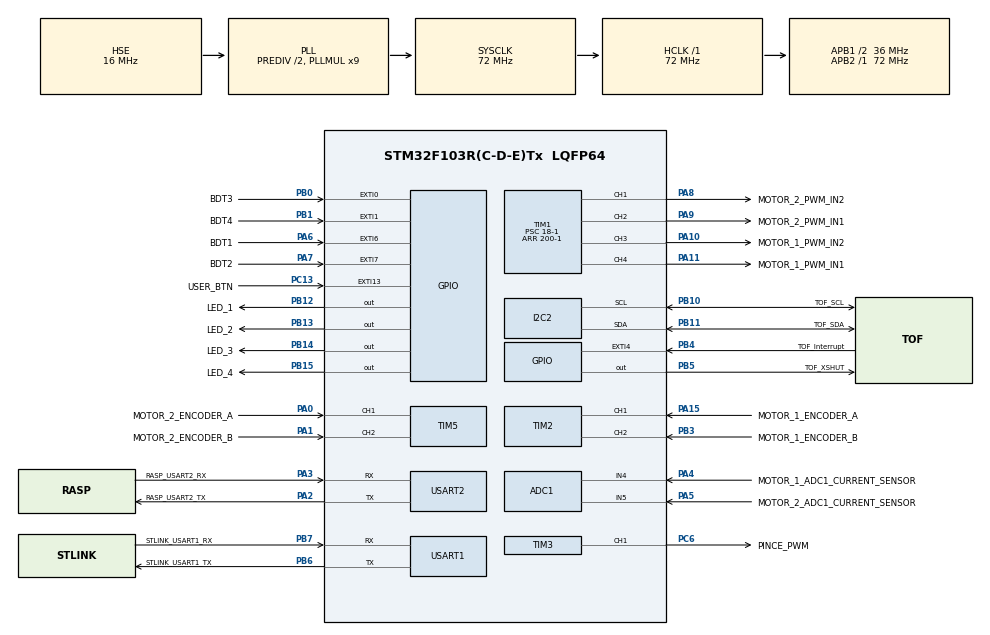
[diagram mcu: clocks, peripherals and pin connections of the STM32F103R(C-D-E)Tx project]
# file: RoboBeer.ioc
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ADC1.Channel-0\#ChannelRegularConversion=ADC_CHANNEL_4
ADC1.NbrOfConversionFlag=1
ADC1.Rank-0\#ChannelRegularConversion=1
ADC1.SamplingTime-0\#ChannelRegularConversion=ADC_SAMPLETIME_1CYCLE_5
ADC1.master=1
Dma.Request0=USART2_RX
Dma.USART2_RX.0.Direction=DMA_PERIPH_TO_MEMORY
Dma.USART2_RX.0.Instance=DMA1_Channel6
Dma.USART2_RX.0.MemDataAlignment=DMA_MDATAALIGN_BYTE
Dma.USART2_RX.0.MemInc=DMA_MINC_ENABLE
Dma.USART2_RX.0.Mode=DMA_CIRCULAR
Dma.USART2_RX.0.PeriphDataAlignment=DMA_PDATAALIGN_BYTE
Dma.USART2_RX.0.PeriphInc=DMA_PINC_DISABLE
Dma.USART2_RX.0.Priority=DMA_PRIORITY_LOW
Mcu.Family=STM32F1
Mcu.Name=STM32F103R(C-D-E)Tx
Mcu.Package=LQFP64
NVIC.DMA1_Channel6_IRQn=true\:0\:0\:false\:false\:true\:false\:true\:true
NVIC.EXTI0_IRQn=true\:0\:0\:false\:false\:true\:true\:true\:true
NVIC.EXTI15_10_IRQn=true\:0\:0\:false\:false\:true\:true\:true\:true
NVIC.EXTI1_IRQn=true\:0\:0\:false\:false\:true\:true\:true\:true
NVIC.EXTI4_IRQn=true\:0\:0\:false\:false\:true\:true\:true\:true
NVIC.EXTI9_5_IRQn=true\:0\:0\:false\:false\:true\:true\:true\:true
NVIC.PriorityGroup=NVIC_PRIORITYGROUP_4
NVIC.TIM1_UP_IRQn=true\:0\:0\:false\:false\:true\:true\:true\:true
NVIC.TIM2_IRQn=true\:0\:0\:false\:false\:true\:true\:true\:true
NVIC.TIM3_IRQn=true\:0\:0\:false\:false\:true\:true\:true\:true
NVIC.TIM4_IRQn=true\:0\:0\:false\:false\:true\:true\:true\:true
NVIC.TIM5_IRQn=true\:0\:0\:false\:false\:true\:true\:true\:true
NVIC.TIM6_IRQn=true\:0\:0\:false\:false\:true\:true\:true\:true
NVIC.TIM7_IRQn=true\:0\:0\:false\:false\:true\:true\:true\:true
NVIC.USART1_IRQn=true\:0\:0\:false\:false\:true\:true\:true\:true
NVIC.USART2_IRQn=true\:0\:0\:false\:false\:true\:true\:true\:true
PA0-WKUP.GPIO_Label=MOTOR_2_ENCODER_A
PA0-WKUP.Signal=S_TIM5_CH1
PA1.GPIO_Label=MOTOR_2_ENCODER_B
PA1.Signal=S_TIM5_CH2
PA10.GPIO_Label=MOTOR_1_PWM_IN2
PA10.Signal=S_TIM1_CH3
PA11.GPIO_Label=MOTOR_1_PWM_IN1
PA11.GPIO_ModeDefaultPP=GPIO_MODE_AF_PP
PA11.Signal=S_TIM1_CH4
PA13.Mode=Serial_Wire
PA13.Signal=SYS_JTMS-SWDIO
PA14.Mode=Serial_Wire
PA14.Signal=SYS_JTCK-SWCLK
PA15.GPIO_Label=MOTOR_1_ENCODER_A
PA15.Signal=S_TIM2_CH1_ETR
PA2.GPIO_Label=RASP_USART2_TX
PA2.Mode=Asynchronous
PA2.Signal=USART2_TX
PA3.GPIO_Label=RASP_USART2_RX
PA3.Mode=Asynchronous
PA3.Signal=USART2_RX
PA4.GPIO_Label=MOTOR_1_ADC1_CURRENT_SENSOR
PA4.Signal=ADCx_IN4
PA5.GPIO_Label=MOTOR_2_ADC1_CURRENT_SENSOR
PA5.Signal=ADCx_IN5
PA6.GPIO_Label=BDT1
PA6.GPIO_ModeDefaultEXTI=GPIO_MODE_IT_RISING_FALLING
PA6.Signal=GPXTI6
PA7.GPIO_Label=BDT2
PA7.GPIO_ModeDefaultEXTI=GPIO_MODE_IT_RISING_FALLING
PA7.Signal=GPXTI7
PA8.GPIO_Label=MOTOR_2_PWM_IN2
PA8.Signal=S_TIM1_CH1
PA9.GPIO_Label=MOTOR_2_PWM_IN1
PA9.Signal=S_TIM1_CH2
PB0.GPIO_Label=BDT3
PB0.GPIO_ModeDefaultEXTI=GPIO_MODE_IT_RISING_FALLING
PB0.Signal=GPXTI0
PB1.GPIO_Label=BDT4
PB1.GPIO_ModeDefaultEXTI=GPIO_MODE_IT_RISING_FALLING
PB1.Signal=GPXTI1
PB10.GPIO_Label=TOF_SCL
PB10.Mode=I2C
PB10.Signal=I2C2_SCL
PB11.GPIO_Label=TOF_SDA
PB11.Mode=I2C
PB11.Signal=I2C2_SDA
PB12.GPIO_Label=LED_1
PB12.Signal=GPIO_Output
PB13.GPIO_Label=LED_2
PB13.Signal=GPIO_Output
PB14.GPIO_Label=LED_3
PB14.Signal=GPIO_Output
PB15.GPIO_Label=LED_4
PB15.Signal=GPIO_Output
PB3.GPIO_Label=MOTOR_1_ENCODER_B
PB3.Signal=S_TIM2_CH2
PB4.GPIO_Label=TOF_Interrupt
PB4.Signal=GPXTI4
PB5.GPIO_Label=TOF_XSHUT
PB5.Signal=GPIO_Output
PB6.GPIO_Label=STLINK_USART1_TX
PB6.Mode=Asynchronous
PB6.Signal=USART1_TX
PB7.GPIO_Label=STLINK_USART1_RX
PB7.Mode=Asynchronous
PB7.Signal=USART1_RX
PC13-TAMPER-RTC.GPIO_Label=USER_BTN
PC13-TAMPER-RTC.Signal=GPXTI13
PC6.GPIO_Label=PINCE_PWM
PC6.Signal=S_TIM3_CH1
PD0-OSC_IN.Mode=HSE-External-Oscillator
PD0-OSC_IN.Signal=RCC_OSC_IN
PD1-OSC_OUT.Mode=HSE-External-Oscillator
PD1-OSC_OUT.Signal=RCC_OSC_OUT
ProjectManager.HeapSize=0x200
ProjectManager.StackSize=0x400
ProjectManager.TargetToolchain=STM32CubeIDE
RCC.ADCPresc=RCC_ADCPCLK2_DIV6
RCC.AHBFreq_Value=72000000
RCC.APB1CLKDivider=RCC_HCLK_DIV2
RCC.APB1Freq_Value=36000000
RCC.APB1TimFreq_Value=72000000
RCC.APB2Freq_Value=72000000
RCC.APB2TimFreq_Value=72000000
RCC.HCLKFreq_Value=72000000
RCC.HSEDivPLL=RCC_HSE_PREDIV_DIV2
RCC.HSE_VALUE=16000000
RCC.PLLMUL=RCC_PLL_MUL9
RCC.PLLSourceVirtual=RCC_PLLSOURCE_HSE
RCC.SYSCLKFreq_VALUE=72000000
RCC.SYSCLKSource=RCC_SYSCLKSOURCE_PLLCLK
RCC.USBFreq_Value=72000000
SH.ADCx_IN4.0=ADC1_IN4,IN4
SH.ADCx_IN5.0=ADC1_IN5,IN5
SH.S_TIM1_CH1.0=TIM1_CH1,PWM Generation1 CH1
SH.S_TIM1_CH2.0=TIM1_CH2,PWM Generation2 CH2
SH.S_TIM1_CH3.0=TIM1_CH3,PWM Generation3 CH3
SH.S_TIM1_CH4.0=TIM1_CH4,PWM Generation4 CH4
SH.S_TIM2_CH1_ETR.0=TIM2_CH1,Encoder_Interface
SH.S_TIM2_CH2.0=TIM2_CH2,Encoder_Interface
SH.S_TIM3_CH1.0=TIM3_CH1,PWM Generation1 CH1
SH.S_TIM5_CH1.0=TIM5_CH1,Encoder_Interface
SH.S_TIM5_CH2.0=TIM5_CH2,Encoder_Interface
TIM1.Channel-PWM\ Generation1\ CH1=TIM_CHANNEL_1
TIM1.Channel-PWM\ Generation2\ CH2=TIM_CHANNEL_2
TIM1.Channel-PWM\ Generation3\ CH3=TIM_CHANNEL_3
TIM1.Channel-PWM\ Generation4\ CH4=TIM_CHANNEL_4
TIM1.Period=200-1
TIM1.Prescaler=18-1
TIM3.AutoReloadPreload=TIM_AUTORELOAD_PRELOAD_DISABLE
TIM3.Channel-PWM\ Generation1\ CH1=TIM_CHANNEL_1
TIM3.Period=20000-1
TIM3.Prescaler=72-1
TIM3.Pulse-PWM\ Generation1\ CH1=512
TIM3.TIM_MasterOutputTrigger=TIM_TRGO_RESET
TIM4.Period=1000-1
TIM4.Prescaler=7200-1
TIM6.Period=1000
TIM6.Prescaler=7200
TIM7.AutoReloadPreload=TIM_AUTORELOAD_PRELOAD_ENABLE
TIM7.Period=10000
TIM7.Prescaler=7200
USART1.VirtualMode=VM_ASYNC
USART2.VirtualMode=VM_ASYNC
VP_TIM1_VS_ClockSourceINT.Mode=Internal
VP_TIM3_VS_ClockSourceINT.Mode=Internal
VP_TIM4_VS_ClockSourceINT.Mode=Internal
VP_TIM6_VS_ClockSourceINT.Mode=Enable_Timer
VP_TIM7_VS_ClockSourceINT.Mode=Enable_Timer
board=custom

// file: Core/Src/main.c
/* USER CODE BEGIN Header */
/**
  ******************************************************************************
  * @file           : main.c
  * @brief          : Main program body
  ******************************************************************************
  * @attention
  *
  * Copyright (c) 2022 STMicroelectronics.
  * All rights reserved.
  *
  * This software is licensed under terms that can be found in the LICENSE file
  * in the root directory of this software component.
  * If no LICENSE file comes with this software, it is provided AS-IS.
  *
  ******************************************************************************
  */
/* USER CODE END Header */
#include "main.h"
#include "adc.h"
#include "dma.h"
#include "i2c.h"
#include "tim.h"
#include "usart.h"
#include "gpio.h"

/* USER CODE BEGIN Includes */
#include <stdio.h>
#include <stdlib.h>
#include <string.h>
#include "driver_ToF.h"
#include "led.h"
#include "Servo.h"
#include "MCC.h"
#include "PI.h"
#include "shell.h"
#include "Test.h"
#include "Rasp.h"
/* USER CODE END Includes */

/* USER CODE BEGIN PV */

extern uint8_t uartRxReceived;
extern uint8_t uartRxBuffer[UART_RX_BUFFER_SIZE];
extern uint8_t uartTxBuffer[UART_TX_BUFFER_SIZE];

extern uint8_t uartRxReceivedRasp;
extern uint8_t uartRxBufferRasp[UART_RX_BUFFER_SIZE];
extern uint8_t uartTxBufferRasp[UART_TX_BUFFER_SIZE];

//BaseType_t xReturned;
//TaskHandle_t xHandle1 = NULL;
//TaskHandle_t xHandle2 = NULL;
//
///*
// * These are the private variables for the Encoder
// */
//BaseType_t xReturned_Encoder;
//TaskHandle_t xHandle_Encoder = NULL;
//
///*
// * These are the private variables for the TOF
// */
//BaseType_t xReturned_TofGetDistance;
//TaskHandle_t xHandle_TofGetDistance = NULL;

uint16_t servo_angle=0;

uint16_t dist = 0;		//distance parcourue mesuree par les encodeurs

int tickD = 0;
int consigneD = 0;		//consigne de vitesse entre 0 et 200
int tickG = 0;
int consigneG = 0;

int action = 3; 		//mouvement à realiser (avancer tourner reculer stop)
int sens = 0;

int actionRasp = 3;
int sensRasp = 0;
int couleur = 0;
int enable = 0; 		//detection canette par la raspebrry, permet de savoir si on peut utiliser les données transmises
int emergencySTOP = 0;

extern int start;

#define nb_mesure 5
int TOF_tab[nb_mesure];
uint tab_i=0;

int TOF_dist = 0;

int enableUserButton = 0;

PIController MoteurD;
PIController MoteurG;

/* USER CODE END PV */

void SystemClock_Config(void);
/* USER CODE BEGIN PFP */

/*Normal functions*/

/*Task Functions*/
void codeTache (void * pvParameters);
void GetEncoderValue(void * pvParameters);
void TofGetDistance(void * pvParameters);
void RaspRead (void * pvParameters);

/* USER CODE END PFP */

/* USER CODE BEGIN 0 */

/**
  * @brief  Period elapsed callback in non-blocking mode
  * @param  htim TIM handle
  * @retval None
  */

void TestSensorOnI2C(int * tab)
{
	 int u = 0;

	 printf("debut de lecture du bus I2c\r\n\n");
	  for(int i =0; i< 256; i++)
	  {
		  int result = HAL_I2C_IsDeviceReady(&hi2c2, (uint16_t)(i),2,2);
		  if (result != HAL_OK)//HAL_ERROR or HAL_TIMEOUT
		  {
			  printf("."); //No ACKreceived at the address
		  }
		  if (result == HAL_OK)
		  {
			  tab[u] = i;
			  u++;
			  printf("0x%X",i); //Received an ACK at the address
		  }
	  }
	  printf("\r\n\nfin de lecture du bus I2C\r\n\n\n");
}

/* USER CODE END 0 */

int main(void)
{

  /* MCU Configuration--------------------------------------------------------*/

  /* Reset of all peripherals, Initializes the Flash interface and the Systick. */
  HAL_Init();

  /* Configure the system clock */
  SystemClock_Config();

  /* Initialize all configured peripherals */
  MX_GPIO_Init();
  MX_DMA_Init();
  MX_TIM3_Init();
  MX_USART1_UART_Init();
  MX_USART2_UART_Init();
  MX_TIM1_Init();
  MX_TIM2_Init();
  MX_TIM5_Init();
  MX_ADC1_Init();
  MX_TIM7_Init();
  MX_TIM6_Init();
  MX_TIM4_Init();
  MX_I2C2_Init();
  /* USER CODE BEGIN 2 */

  HAL_UART_Receive_IT(&huart1, uartRxBuffer, UART_RX_BUFFER_SIZE);
  HAL_Delay(1);
  shellInit();

  HAL_UART_Receive_DMA(&huart2, uartRxBufferRasp, UART_RX_BUFFER_SIZE_RASP);

  //HAL_UART_Receive_IT(&huart2, uartRxBufferRasp, UART_RX_BUFFER_SIZE_RASP);
  //HAL_Delay(1);

  int tabI2CAdd[8] = {0,0,0,0,0,0,0,0};
  TestSensorOnI2C(tabI2CAdd);
  initTof();
  //int tabI2CAdd[8] = {0,0,0,0,0,0,0,0};
  //TestSensorOnI2C(tabI2CAdd);

  TurnOffLed(1);
  TurnOffLed(2);
  TurnOffLed(3);
  TurnOffLed(4);

  HAL_TIM_Base_Start_IT(&htim3);
  HAL_TIM_PWM_Start_IT(&htim3, TIM_CHANNEL_1);
  ControlServo(SERVO_CLOSED);

  HAL_TIM_Base_Start_IT(&htim6);
  InitMCC();

  HAL_TIM_Encoder_Start(&htim2, TIM_CHANNEL_ALL);
  HAL_TIM_Encoder_Start(&htim5, TIM_CHANNEL_ALL);

  PIController_Init(&MoteurD);
  PIController_Init(&MoteurG);

  HAL_TIM_Base_Start_IT(&htim7); //interrupt chaque second pour print les données dans le shell
  HAL_TIM_Base_Start_IT(&htim4);

  /* USER CODE END 2 */

  /* Infinite loop */
  while (1)
  {

    /* USER CODE BEGIN 3 */
	  if(start)
	  {
		  Test_Rasp();
		  //Test_Canette();
		  //Test_Tourner();
		  //Test_Odometrie_Carre();
	  }
	  //printf("start\r\n");

  }
  /* USER CODE END 3 */
}

void SystemClock_Config(void)
{
  RCC_OscInitTypeDef RCC_OscInitStruct = {0};
  RCC_ClkInitTypeDef RCC_ClkInitStruct = {0};
  RCC_PeriphCLKInitTypeDef PeriphClkInit = {0};

  /** Initializes the RCC Oscillators according to the specified parameters
  * in the RCC_OscInitTypeDef structure.
  */
  RCC_OscInitStruct.OscillatorType = RCC_OSCILLATORTYPE_HSE;
  RCC_OscInitStruct.HSEState = RCC_HSE_ON;
  RCC_OscInitStruct.HSEPredivValue = RCC_HSE_PREDIV_DIV2;
  RCC_OscInitStruct.HSIState = RCC_HSI_ON;
  RCC_OscInitStruct.PLL.PLLState = RCC_PLL_ON;
  RCC_OscInitStruct.PLL.PLLSource = RCC_PLLSOURCE_HSE;
  RCC_OscInitStruct.PLL.PLLMUL = RCC_PLL_MUL9;
  if (HAL_RCC_OscConfig(&RCC_OscInitStruct) != HAL_OK)
  {
    Error_Handler();
  }

  /** Initializes the CPU, AHB and APB buses clocks
  */
  RCC_ClkInitStruct.ClockType = RCC_CLOCKTYPE_HCLK|RCC_CLOCKTYPE_SYSCLK
                              |RCC_CLOCKTYPE_PCLK1|RCC_CLOCKTYPE_PCLK2;
  RCC_ClkInitStruct.SYSCLKSource = RCC_SYSCLKSOURCE_PLLCLK;
  RCC_ClkInitStruct.AHBCLKDivider = RCC_SYSCLK_DIV1;
  RCC_ClkInitStruct.APB1CLKDivider = RCC_HCLK_DIV2;
  RCC_ClkInitStruct.APB2CLKDivider = RCC_HCLK_DIV1;

  if (HAL_RCC_ClockConfig(&RCC_ClkInitStruct, FLASH_LATENCY_2) != HAL_OK)
  {
    Error_Handler();
  }
  PeriphClkInit.PeriphClockSelection = RCC_PERIPHCLK_ADC;
  PeriphClkInit.AdcClockSelection = RCC_ADCPCLK2_DIV6;
  if (HAL_RCCEx_PeriphCLKConfig(&PeriphClkInit) != HAL_OK)
  {
    Error_Handler();
  }
}

/* USER CODE BEGIN 4 */
int __io_putchar(int ch) {
	HAL_UART_Transmit(&huart1, (uint8_t *)&ch, 1, HAL_MAX_DELAY);
	return ch;
}

void HAL_TIM_PeriodElapsedCallback(TIM_HandleTypeDef *htim)
{
	if (htim->Instance == TIM3) // 50Hz freq lecture TOF
	{

	}

	else if (htim->Instance == TIM7) //Tim 7 1sec pour du printf shell
	{
		//printf("%d\r\n", dist);
		//printf("distance : %d\r\n", TOF_dist);
	}
	else if (htim->Instance == TIM4) //Delay Tof
		{
			TOF_tab[tab_i] = tofReadDistance();
			tab_i = (tab_i+1)%nb_mesure;
			if(tab_i==10000) tab_i = 0;
			int d_moy = 0;
			for(int i=0; i<nb_mesure; i++)
			{
				d_moy += TOF_tab[i];
			}
			TOF_dist = d_moy/nb_mesure;

			//printf("distance : %d\r\n", TOF_dist);
		}

	else if (htim->Instance == TIM6) //Tim 6 asserv en vitesse a 0.1sec
		{

		if(emergencySTOP)
			{
			action = STOP;
			Error_Handler();
			}
		else
		{
			switch(action)
			{
			case TOURNER :
				if(sens)dist -=	(( (TIM2->CNT)-Mid_Period_TIM2 ) + ((TIM5->CNT) - Mid_Period_TIM5 ) ) / 2; //on moyenne la valeur
				else dist +=	(( (TIM2->CNT)-Mid_Period_TIM2 ) + ((TIM5->CNT) - Mid_Period_TIM5 ) ) / 2; //on moyenne la valeur
				break;
			default :
				dist +=	(( (TIM2->CNT)-Mid_Period_TIM2 ) + ( Mid_Period_TIM5 - (TIM5->CNT)) ) / 2; //on moyenne la valeur
				break;
			}

			  ReadEncodeur();

			  if(consigneD == 0)
			  {
				  Stop();
			  }

			  else
			  {
				switch(action)
				{
				case AVANCER :
					PIController_Update(&MoteurD, consigneD, tickD * MAX_ARR / OmaxD);
					PIController_Update(&MoteurG, consigneG, tickG * MAX_ARR / OmaxG);
					AvancerPI(0, MoteurD.out);
					AvancerPI(1, MoteurG.out);
					break;

				case RECULER :
					PIController_Update(&MoteurD, consigneD, tickD * MAX_ARR / OmaxD);
					PIController_Update(&MoteurG, consigneG, tickG * MAX_ARR / OmaxG);
					ReculerPI(0, MoteurD.out);
					ReculerPI(1, MoteurG.out);
					break;

				case TOURNER :
					PIController_Update(&MoteurD, consigneD, tickD * MAX_ARR / OmaxD);
					PIController_Update(&MoteurG, consigneG, tickG * MAX_ARR / OmaxG);
					if(sens)
					{
						ReculerPI(0, MoteurD.out);
						AvancerPI(1, MoteurG.out);
					}
					else
					{
						AvancerPI(0, MoteurD.out);
						ReculerPI(1, MoteurG.out);
					}
					break;

				default :
					Stop();
					break;
				}

			  }
			}
		}
}

void HAL_GPIO_EXTI_Callback(uint16_t GPIO_Pin)  // <----- The ISR Function We're Looking For!
{
	//enableUserButton = (enableUserButton+1) % 2; //passe 0 à 1 et 1 à 0
	if(GPIO_Pin == USER_BTN_Pin)
	{
		Debut_Test();
	}
	else if (GPIO_Pin == BDT1_Pin || GPIO_Pin == BDT2_Pin || GPIO_Pin == BDT3_Pin || GPIO_Pin == BDT4_Pin)
	{
		SwitchLed(2);
		emergencySTOP = 1;
	}

}

/**
  * @brief  Function called at each new character received
  * @retval None
  */
void HAL_UART_RxCpltCallback (UART_HandleTypeDef * huart)
{
	if(huart->Instance == USART1)
	{
		HAL_UART_Receive_IT(&huart1, uartRxBuffer, UART_RX_BUFFER_SIZE);
		if(shellGetChar())
		{
		  shellExec();
		  shellPrompt();
		}
	}
	else if(huart->Instance == USART2)
	{
		//HAL_UART_Receive_IT(&huart2, uartRxBufferRasp, UART_RX_BUFFER_SIZE_RASP);
		HAL_UART_Receive_DMA(&huart2, uartRxBufferRasp, UART_RX_BUFFER_SIZE_RASP);
		raspGetChar();
		raspExec();
	}

}
/* USER CODE END 4 */

void Error_Handler(void)
{
  /* USER CODE BEGIN Error_Handler_Debug */
  /* User can add his own implementation to report the HAL error return state */
  __disable_irq();
  LedError();
  while (1)
  {
  }
  /* USER CODE END Error_Handler_Debug */
}
